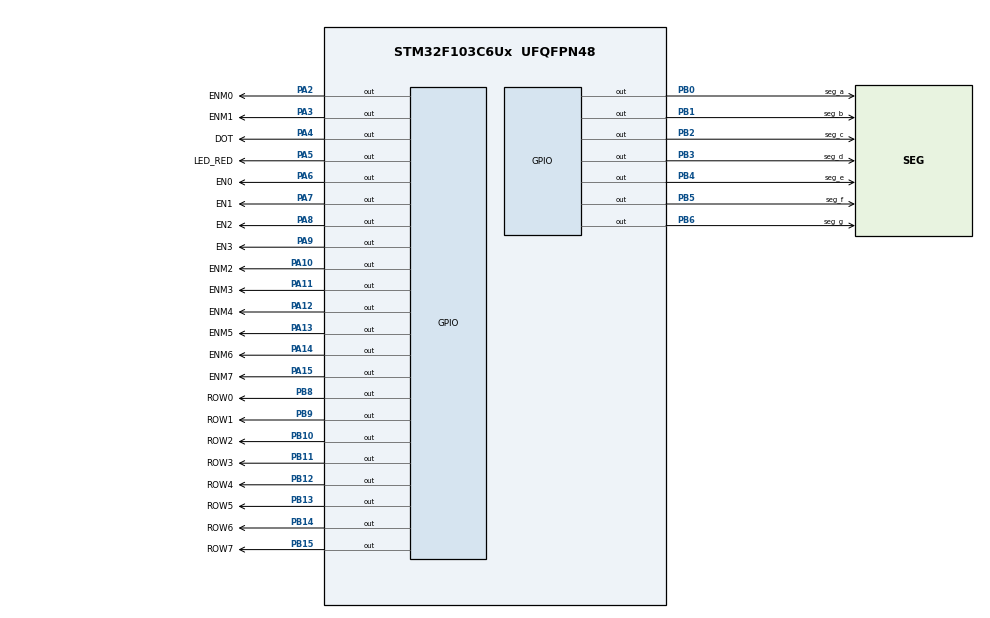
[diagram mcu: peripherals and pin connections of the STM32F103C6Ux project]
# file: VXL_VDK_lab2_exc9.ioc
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Mcu.Family=STM32F1
Mcu.Name=STM32F103C6Ux
Mcu.Package=UFQFPN48
NVIC.PriorityGroup=NVIC_PRIORITYGROUP_4
NVIC.TIM2_IRQn=true\:0\:0\:false\:false\:true\:true\:true\:true
PA10.GPIO_Label=ENM2
PA10.Signal=GPIO_Output
PA11.GPIO_Label=ENM3
PA11.Signal=GPIO_Output
PA12.GPIO_Label=ENM4
PA12.Signal=GPIO_Output
PA13.GPIO_Label=ENM5
PA13.Signal=GPIO_Output
PA14.GPIO_Label=ENM6
PA14.Signal=GPIO_Output
PA15.GPIO_Label=ENM7
PA15.Signal=GPIO_Output
PA2.GPIO_Label=ENM0
PA2.Signal=GPIO_Output
PA3.GPIO_Label=ENM1
PA3.Signal=GPIO_Output
PA4.GPIO_Label=DOT
PA4.Signal=GPIO_Output
PA5.GPIO_Label=LED_RED
PA5.Signal=GPIO_Output
PA6.GPIO_Label=EN0
PA6.Signal=GPIO_Output
PA7.GPIO_Label=EN1
PA7.Signal=GPIO_Output
PA8.GPIO_Label=EN2
PA8.Signal=GPIO_Output
PA9.GPIO_Label=EN3
PA9.Signal=GPIO_Output
PB0.GPIO_Label=seg_a
PB0.Signal=GPIO_Output
PB1.GPIO_Label=seg_b
PB1.Signal=GPIO_Output
PB10.GPIO_Label=ROW2
PB10.Signal=GPIO_Output
PB11.GPIO_Label=ROW3
PB11.Signal=GPIO_Output
PB12.GPIO_Label=ROW4
PB12.Signal=GPIO_Output
PB13.GPIO_Label=ROW5
PB13.Signal=GPIO_Output
PB14.GPIO_Label=ROW6
PB14.Signal=GPIO_Output
PB15.GPIO_Label=ROW7
PB15.Signal=GPIO_Output
PB2.GPIO_Label=seg_c
PB2.Signal=GPIO_Output
PB3.GPIO_Label=seg_d
PB3.Signal=GPIO_Output
PB4.GPIO_Label=seg_e
PB4.Signal=GPIO_Output
PB5.GPIO_Label=seg_f
PB5.Signal=GPIO_Output
PB6.GPIO_Label=seg_g
PB6.Signal=GPIO_Output
PB8.GPIO_Label=ROW0
PB8.Signal=GPIO_Output
PB9.GPIO_Label=ROW1
PB9.Signal=GPIO_Output
ProjectManager.HeapSize=0x200
ProjectManager.StackSize=0x400
ProjectManager.TargetToolchain=STM32CubeIDE
RCC.APB1Freq_Value=8000000
RCC.APB2Freq_Value=8000000
TIM2.Period=9
TIM2.Prescaler=7999
VP_SYS_VS_ND.Mode=No_Debug
VP_TIM2_VS_ClockSourceINT.Mode=Internal
board=custom

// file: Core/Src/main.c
/* USER CODE BEGIN Header */
/**
  ******************************************************************************
  * @file           : main.c
  * @brief          : Main program body
  ******************************************************************************
  * @attention
  *
  * Copyright (c) 2025 STMicroelectronics.
  * All rights reserved.
  *
  * This software is licensed under terms that can be found in the LICENSE file
  * in the root directory of this software component.
  * If no LICENSE file comes with this software, it is provided AS-IS.
  *
  ******************************************************************************
  */
/* USER CODE END Header */
#include "main.h"
#include "tim.h"
#include "gpio.h"

/* USER CODE BEGIN Includes */
#include "software_timer.h"
/* USER CODE END Includes */

void SystemClock_Config(void);

/* USER CODE BEGIN 0 */
int hour = 23, minute = 59, second = 55;
int led_buffer[4] = {0, 0, 0, 0};
uint8_t led7_table[10][7] =    {{0,0,0,0,0,0,1},
								{1,0,0,1,1,1,1},
								{0,0,1,0,0,1,0},
								{0,0,0,0,1,1,0},
								{1,0,0,1,1,0,0},
								{0,1,0,0,1,0,0},
								{0,1,0,0,0,0,0},
								{0,0,0,1,1,1,1},
								{0,0,0,0,0,0,0},
								{0,0,0,0,1,0,0}};
uint16_t EN_PIN[4] = {
    EN0_Pin,
    EN1_Pin,
    EN2_Pin,
    EN3_Pin,
};
void display7SEG(int num,int led){
	HAL_GPIO_WritePin(EN0_GPIO_Port, EN_PIN[0], SET);
	HAL_GPIO_WritePin(EN0_GPIO_Port, EN_PIN[1], SET);
	HAL_GPIO_WritePin(EN0_GPIO_Port, EN_PIN[2], SET);
	HAL_GPIO_WritePin(EN0_GPIO_Port, EN_PIN[3], SET);

	HAL_GPIO_WritePin(seg_a_GPIO_Port, seg_a_Pin, led7_table[num][0]);
	HAL_GPIO_WritePin(seg_b_GPIO_Port, seg_b_Pin, led7_table[num][1]);
	HAL_GPIO_WritePin(seg_c_GPIO_Port, seg_c_Pin, led7_table[num][2]);
	HAL_GPIO_WritePin(seg_g_GPIO_Port, seg_d_Pin, led7_table[num][3]);
	HAL_GPIO_WritePin(seg_f_GPIO_Port, seg_e_Pin, led7_table[num][4]);
	HAL_GPIO_WritePin(seg_e_GPIO_Port, seg_f_Pin, led7_table[num][5]);
	HAL_GPIO_WritePin(seg_d_GPIO_Port, seg_g_Pin, led7_table[num][6]);
	HAL_GPIO_WritePin(EN0_GPIO_Port, EN_PIN[led], RESET);
}

int timer0_counter = 0;
int timer0_flag = 0;
int TIMER_CYCLE = 10;

void updateClockBuffer(){
	led_buffer[0] = hour/10;
	led_buffer[1] = hour - led_buffer[0]*10;
	led_buffer[2] = minute/10;
	led_buffer[3] = minute - led_buffer[2]*10;

};
void update7SEG(int index){
    switch (index){
        case 0:
        	display7SEG(led_buffer[0],0);
            break;
        case 1:
        	display7SEG(led_buffer[1],1);
            break;
        case 2:
        	display7SEG(led_buffer[2],2);
            break;
        case 3:
        	display7SEG(led_buffer[3],3);
            break;
        default:
            break;
    }
}
uint8_t matrix_buffer[8] = {0x00,0xFC,0x0A,0x09,0x09,0x0A,0xFC,0x00}; //A
//uint8_t matrix_buffer[8] = {0x00,0x18,0x18,0x18,0x7E,0x3C,0x18,0x00};

void updateLEDMatrix(int index){
	HAL_GPIO_WritePin(GPIOA, ENM0_Pin|ENM1_Pin|ENM2_Pin|ENM3_Pin|ENM4_Pin|ENM5_Pin|ENM6_Pin|ENM7_Pin, SET);
	uint16_t matrix_pin_for_buffer0 = matrix_buffer[index];
	uint16_t matrix_pin_for_buffer1 = ~matrix_buffer[index];
	matrix_pin_for_buffer0 = matrix_pin_for_buffer0<<8;
	matrix_pin_for_buffer1 = matrix_pin_for_buffer1<<8;
	HAL_GPIO_WritePin(ROW0_GPIO_Port, matrix_pin_for_buffer0, RESET);
	HAL_GPIO_WritePin(ROW0_GPIO_Port, matrix_pin_for_buffer1, SET);

	 switch (index){
		 case 0:
			HAL_GPIO_WritePin(ENM0_GPIO_Port, ENM0_Pin, RESET);
		 break;
		 case 1:
			 HAL_GPIO_WritePin(ENM1_GPIO_Port, ENM1_Pin, RESET);
		 break;
		 case 2:
			 HAL_GPIO_WritePin(ENM2_GPIO_Port, ENM2_Pin, RESET);
		break;
		 case 3:
			 HAL_GPIO_WritePin(ENM3_GPIO_Port, ENM3_Pin, RESET);
		 break;
		 case 4:
			 HAL_GPIO_WritePin(ENM4_GPIO_Port, ENM4_Pin, RESET);
		 break;
		 case 5:
			 HAL_GPIO_WritePin(ENM5_GPIO_Port, ENM5_Pin, RESET);
		 break;
		 case 6:
			 HAL_GPIO_WritePin(ENM6_GPIO_Port, ENM6_Pin, RESET);
		 break;
		 case 7:
			 HAL_GPIO_WritePin(ENM7_GPIO_Port, ENM7_Pin, RESET);
		 break;
		  default:
		  break;
	  }
  }
void mat_tran(){
	uint8_t tmp = matrix_buffer[7];
	matrix_buffer[7] = matrix_buffer[6];
	matrix_buffer[6] = matrix_buffer[5];
	matrix_buffer[5] = matrix_buffer[4];
	matrix_buffer[4] = matrix_buffer[3];
	matrix_buffer[3] = matrix_buffer[2];
	matrix_buffer[2] = matrix_buffer[1];
	matrix_buffer[1] = matrix_buffer[0];
	matrix_buffer[0] = tmp;

}

/* USER CODE END 0 */

int main(void)
{

  /* MCU Configuration--------------------------------------------------------*/

  /* Reset of all peripherals, Initializes the Flash interface and the Systick. */
  HAL_Init();

  /* Configure the system clock */
  SystemClock_Config();

  /* Initialize all configured peripherals */
  MX_GPIO_Init();
  MX_TIM2_Init();
  /* USER CODE BEGIN 2 */
  int mat_idx = 0;
  int seg_idx = 0;
  HAL_GPIO_WritePin(LED_RED_GPIO_Port, LED_RED_Pin, RESET);
  HAL_GPIO_WritePin(DOT_GPIO_Port, DOT_Pin, RESET);
  updateClockBuffer();
  update7SEG(seg_idx++);
  set_timer_init(0, 100);
  set_timer_init(1,50);
  set_timer_init(2, 25);
  set_timer_init(3,10);
  HAL_TIM_Base_Start_IT(&htim2);

  /* USER CODE END 2 */

  /* Infinite loop */
  /* USER CODE BEGIN WHILE */
  while (1)
  {
	  Check_timer();
	  if(TimerExpired(0)){
		  set_timer(0, 100);
		  HAL_GPIO_TogglePin(LED_RED_GPIO_Port, LED_RED_Pin);
		  second++;
		  if (second >= 60){
		            second = 0;
		            minute++;
		        }
	      if(minute >= 60){
		            minute = 0;
		            hour++;
		        }
	      if(hour >=24){
		            hour = 0;
		        }
		  updateClockBuffer();
	  }
	  if(TimerExpired(1)){
		  set_timer(1, 50);
		  HAL_GPIO_TogglePin(DOT_GPIO_Port, DOT_Pin);
	  }
	  if(TimerExpired(2)){
		  set_timer(2, 25);
		  update7SEG(seg_idx++);
		  if(seg_idx > 3) seg_idx = 0;

	  }
	  if(TimerExpired(3)){
		  int ms = 1;

		  updateLEDMatrix(mat_idx++);
		  if(mat_idx > 8) {
			  mat_idx = 0;
			  mat_tran();
			  ms = 25;
		  }
		  set_timer(3, ms);

	  }

    /* USER CODE END WHILE */

  }
}

void SystemClock_Config(void)
{
  RCC_OscInitTypeDef RCC_OscInitStruct = {0};
  RCC_ClkInitTypeDef RCC_ClkInitStruct = {0};

  /** Initializes the RCC Oscillators according to the specified parameters
  * in the RCC_OscInitTypeDef structure.
  */
  RCC_OscInitStruct.OscillatorType = RCC_OSCILLATORTYPE_HSI;
  RCC_OscInitStruct.HSIState = RCC_HSI_ON;
  RCC_OscInitStruct.HSICalibrationValue = RCC_HSICALIBRATION_DEFAULT;
  RCC_OscInitStruct.PLL.PLLState = RCC_PLL_NONE;
  if (HAL_RCC_OscConfig(&RCC_OscInitStruct) != HAL_OK)
  {
    Error_Handler();
  }

  /** Initializes the CPU, AHB and APB buses clocks
  */
  RCC_ClkInitStruct.ClockType = RCC_CLOCKTYPE_HCLK|RCC_CLOCKTYPE_SYSCLK
                              |RCC_CLOCKTYPE_PCLK1|RCC_CLOCKTYPE_PCLK2;
  RCC_ClkInitStruct.SYSCLKSource = RCC_SYSCLKSOURCE_HSI;
  RCC_ClkInitStruct.AHBCLKDivider = RCC_SYSCLK_DIV1;
  RCC_ClkInitStruct.APB1CLKDivider = RCC_HCLK_DIV1;
  RCC_ClkInitStruct.APB2CLKDivider = RCC_HCLK_DIV1;

  if (HAL_RCC_ClockConfig(&RCC_ClkInitStruct, FLASH_LATENCY_0) != HAL_OK)
  {
    Error_Handler();
  }
}

void Error_Handler(void)
{
  __disable_irq();
  while (1)
  {
  }
}
